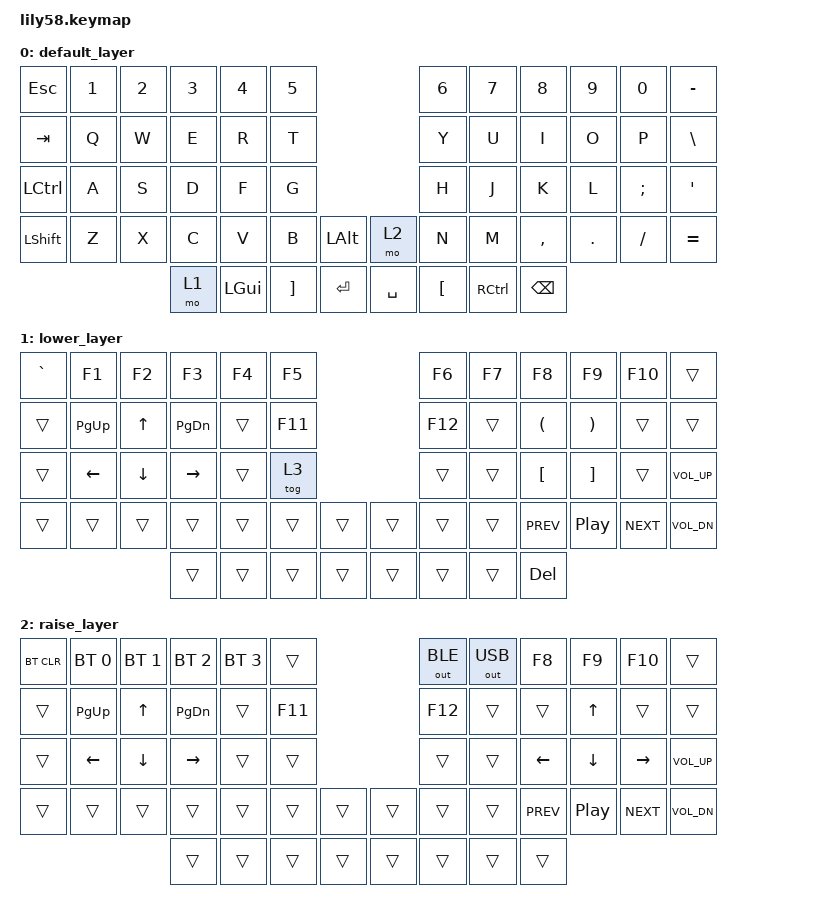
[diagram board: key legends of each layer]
#include <behaviors.dtsi>
#include <dt-bindings/zmk/keys.h>
#include <dt-bindings/zmk/bt.h>
#include <dt-bindings/zmk/outputs.h>
/ {
	keymap {
		compatible = "zmk,keymap";
		default_layer {
			bindings = <
&kp ESC   &kp N1 &kp N2 &kp N3   &kp N4   &kp N5                      &kp N6   &kp N7    &kp N8    &kp N9  &kp N0   &kp MINUS
&kp TAB   &kp Q  &kp W  &kp E    &kp R    &kp T                       &kp Y    &kp U     &kp I     &kp O   &kp P    &kp BSLH
&kp LCTRL &kp A  &kp S  &kp D    &kp F    &kp G                       &kp H    &kp J     &kp K     &kp L   &kp SEMI &kp SQT
&kp LSHFT &kp Z  &kp X  &kp C    &kp V    &kp B    &kp LALT &mo 2     &kp N    &kp M     &kp COMMA &kp DOT &kp FSLH &kp EQUAL
                        &mo 1    &kp LGUI &kp RBKT &kp RET  &kp SPACE &kp LBKT &kp RCTRL &kp BSPC
			>;
 		};
		lower_layer {
			bindings = <
&kp GRAVE &kp F1 &kp F2   &kp F3    &kp F4 &kp F5                     &kp F6  &kp F7 &kp F8      &kp F9   &kp F10    &trans	
&trans &kp PG_UP &kp UP   &kp PG_DN &trans &kp F11                    &kp F12 &trans &kp LPAR    &kp RPAR &trans     &trans
&trans &kp LEFT  &kp DOWN &kp RIGHT &trans &tog 3                     &trans  &trans &kp LBKT    &kp RBKT &trans     &kp C_VOL_UP
&trans &trans    &trans   &trans    &trans &trans &trans       &trans &trans  &trans &kp C_PREV  &kp C_PP &kp C_NEXT &kp C_VOL_DN
                          &trans    &trans &trans &trans       &trans &trans  &trans &kp DEL 
			>;
 		};
		raise_layer {
			bindings = <
&bt BT_CLR &bt BT_SEL 0 &bt BT_SEL 1 &bt BT_SEL 2 &bt BT_SEL 3 &trans &out OUT_BLE &out OUT_USB &kp F8 &kp F9 &kp F10 &trans
&trans &kp PG_UP &kp UP   &kp PG_DN &trans &kp F11                    &kp F12 &trans &trans      &kp UP   &trans     &trans
&trans &kp LEFT  &kp DOWN &kp RIGHT &trans &trans                     &trans  &trans &kp LEFT    &kp DOWN &kp RIGHT  &kp C_VOL_UP
&trans &trans    &trans   &trans    &trans &trans  &trans      &trans &trans  &trans &kp C_PREV  &kp C_PP &kp C_NEXT &kp C_VOL_DN
                          &trans    &trans &trans   &trans     &trans &trans  &trans &trans
			>;
 		};
	};
};
